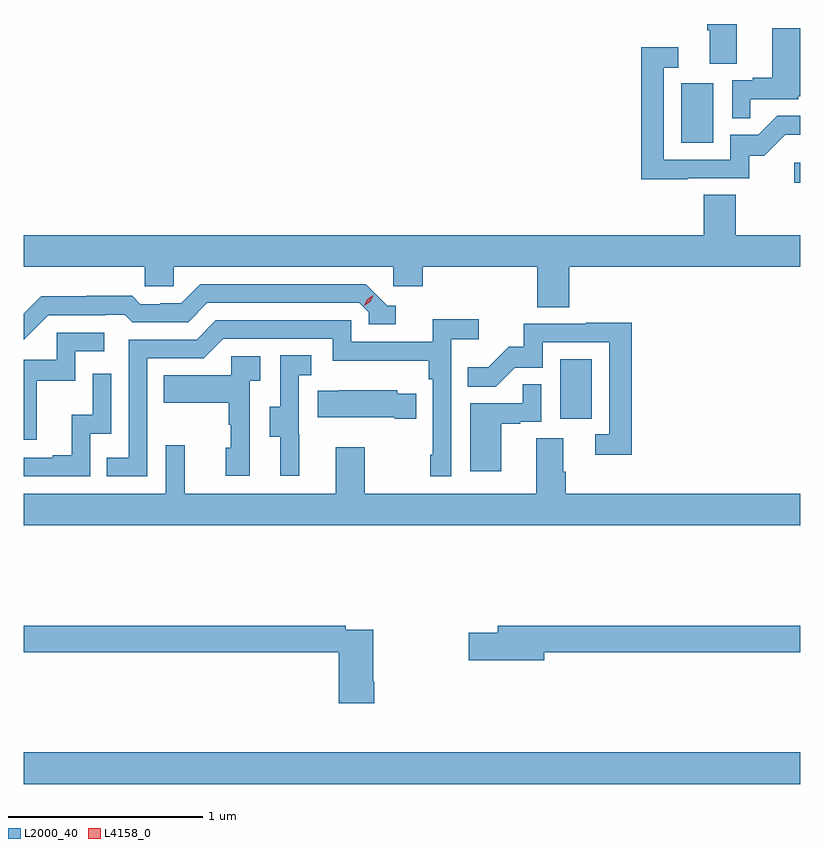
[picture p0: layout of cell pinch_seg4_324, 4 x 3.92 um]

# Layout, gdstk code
import gdstk
lib = gdstk.Library(unit=1e-6, precision=1e-09)
def R(c, l, rs):  # rectangles x0, y0, x1, y1
    for r in rs: c.add(gdstk.rectangle(r[:2], r[2:], *l))
def P(c, l, *ps):  # polygons
    for p in ps: c.add(gdstk.Polygon(p, *l))
L2000_40 = (2000, 40)
L4158_0 = (4158, 0)

pinch_seg4_324 = lib.new_cell('pinch_seg4_324')
R(pinch_seg4_324, L2000_40, [(915.623,791.492,919.623,791.656), (918.386,793.374,918.55,793.681), (919.593,794.59,919.623,794.692), (919.01,794.796,919.174,795.103)])
P(pinch_seg4_324, L2000_40, [(919.297,795.408),(919.145,795.408),(919.145,795.376),(919.157,795.376),(919.157,795.202),(919.297,795.202)],
  [(919.367,795.021),(919.614,795.021),(919.614,795.036),(919.623,795.036),(919.623,795.385),(919.478,795.385),(919.478,795.13),(919.379,795.13),(919.379,795.117),(919.272,795.117),(919.272,794.923),(919.367,794.923)],
  [(919.043,794.613),(919.362,794.613),(919.362,794.73),(919.438,794.73),(919.545,794.837),(919.623,794.837),(919.623,794.936),(919.505,794.936),(919.407,794.838),(919.263,794.838),(919.263,794.709),(918.921,794.709),(918.921,795.183),(918.994,795.183),(918.994,795.289),(918.805,795.289),(918.805,794.608),(919.043,794.608)],
  [(918.434,794.156),(919.623,794.156),(919.623,794.32),(919.292,794.32),(919.292,794.528),(919.127,794.528),(919.127,794.32),(915.623,794.32),(915.623,794.156),(916.245,794.156),(916.245,794.058),(916.395,794.058),(916.395,794.156),(917.526,794.156),(917.526,794.058),(917.678,794.058),(917.678,794.156),(918.269,794.156),(918.269,793.948),(918.434,793.948)],
  [(915.75,793.908),(916.043,793.908),(916.043,793.911),(916.142,793.911),(916.181,793.872),(916.47,793.872),(916.569,793.971),(917.352,793.971),(917.4,793.923),(917.4,793.86),(917.539,793.86),(917.539,793.956),(917.496,793.956),(917.385,794.067),(916.532,794.067),(916.433,793.968),(916.326,793.968),(916.326,793.965),(916.223,793.965),(916.181,794.008),(915.948,794.008),(915.948,794.005),(915.712,794.005),(915.623,793.916),(915.623,793.781)],
  [(916.26,793.686),(916.551,793.686),(916.65,793.785),(917.214,793.785),(917.214,793.673),(917.71,793.673),(917.71,793.577),(917.73,793.577),(917.73,793.189),(917.718,793.189),(917.718,793.077),(917.826,793.077),(917.826,793.784),(917.968,793.784),(917.968,793.886),(917.729,793.886),(917.729,793.77),(917.31,793.77),(917.31,793.881),(916.613,793.881),(916.514,793.782),(916.164,793.782),(916.164,793.173),(916.051,793.173),(916.051,793.077),(916.26,793.077)],
  [(918.755,793.868),(918.517,793.868),(918.517,793.863),(918.199,793.863),(918.199,793.746),(918.122,793.746),(918.015,793.639),(917.911,793.639),(917.911,793.54),(918.055,793.54),(918.153,793.638),(918.297,793.638),(918.297,793.767),(918.639,793.767),(918.639,793.293),(918.567,793.293),(918.567,793.188),(918.755,793.188)],
  [(915.689,793.569),(915.888,793.569),(915.888,793.722),(916.036,793.722),(916.036,793.818),(915.792,793.818),(915.792,793.677),(915.623,793.677),(915.623,793.266),(915.689,793.266)],
  [(917.042,793.293),(917.04,793.293),(917.04,793.597),(917.104,793.597),(917.104,793.7),(916.944,793.7),(916.944,793.437),(916.889,793.437),(916.889,793.282),(916.943,793.282),(916.943,793.08),(917.042,793.08)],
  [(916.788,793.571),(916.84,793.571),(916.84,793.695),(916.692,793.695),(916.692,793.597),(916.345,793.597),(916.345,793.457),(916.68,793.457),(916.68,793.343),(916.69,793.343),(916.69,793.224),(916.664,793.224),(916.664,793.08),(916.788,793.08)],
  [(915.966,793.296),(916.074,793.296),(916.074,793.606),(915.978,793.606),(915.978,793.394),(915.869,793.394),(915.869,793.186),(915.773,793.186),(915.773,793.173),(915.623,793.173),(915.623,793.077),(915.966,793.077)],
  [(918.082,793.347),(918.182,793.347),(918.182,793.359),(918.288,793.359),(918.288,793.553),(918.193,793.553),(918.193,793.455),(917.924,793.455),(917.924,793.104),(918.082,793.104)],
  [(917.645,793.504),(917.547,793.504),(917.547,793.522),(917.245,793.522),(917.245,793.519),(917.137,793.519),(917.137,793.382),(917.534,793.382),(917.534,793.375),(917.645,793.375)],
  [(919.623,792.988),(918.416,792.988),(918.416,793.1),(918.403,793.1),(918.403,793.274),(918.263,793.274),(918.263,792.988),(917.379,792.988),(917.379,793.228),(917.231,793.228),(917.231,792.988),(916.451,792.988),(916.451,793.237),(916.353,793.237),(916.353,792.988),(915.623,792.988),(915.623,792.824),(919.623,792.824)],
  [(917.429,792.019),(917.424,792.019),(917.424,792.288),(917.282,792.288),(917.282,792.308),(915.623,792.308),(915.623,792.172),(917.246,792.172),(917.246,791.907),(917.429,791.907)],
  [(918.304,792.172),(919.623,792.172),(919.623,792.308),(918.065,792.308),(918.065,792.272),(917.916,792.272),(917.916,792.13),(918.304,792.13)])
P(pinch_seg4_324, L4158_0, [(917.376,793.957),(917.376,793.957),(917.392,793.99),(917.422,794.009),(917.423,794.009),(917.423,794.009),(917.407,793.976),(917.377,793.957)])

lib.write_gds('pinch_seg4_324.gds')
